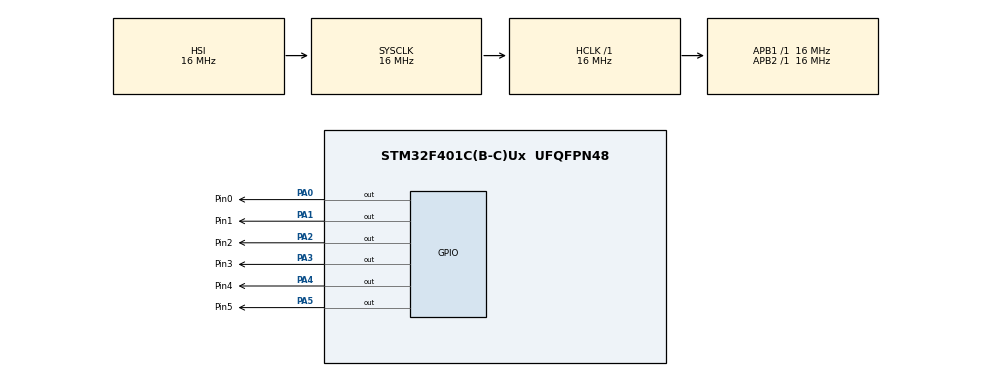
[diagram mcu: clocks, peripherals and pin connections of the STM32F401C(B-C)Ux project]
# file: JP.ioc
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Mcu.Family=STM32F4
Mcu.Name=STM32F401C(B-C)Ux
Mcu.Package=UFQFPN48
NVIC.PriorityGroup=NVIC_PRIORITYGROUP_4
PA0-WKUP.GPIO_Label=Pin0
PA0-WKUP.Signal=GPIO_Output
PA1.GPIO_Label=Pin1
PA1.Signal=GPIO_Output
PA2.GPIO_Label=Pin2
PA2.Signal=GPIO_Output
PA3.GPIO_Label=Pin3
PA3.Signal=GPIO_Output
PA4.GPIO_Label=Pin4
PA4.Signal=GPIO_Output
PA5.GPIO_Label=Pin5
PA5.Signal=GPIO_Output
ProjectManager.HeapSize=0x200
ProjectManager.StackSize=0x400
ProjectManager.TargetToolchain=CMake
RCC.AHBFreq_Value=16000000
RCC.APB1Freq_Value=16000000
RCC.APB2Freq_Value=16000000
RCC.CortexFreq_Value=16000000
RCC.HSE_VALUE=25000000
RCC.HSI_VALUE=16000000
RCC.LSE_VALUE=32768
RCC.SYSCLKFreq_VALUE=16000000
RCC.VCOOutputFreq_Value=192000000
board=custom

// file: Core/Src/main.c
/* USER CODE BEGIN Header */
/**
  ******************************************************************************
  * @file           : main.c
  * @brief          : Main program body
  ******************************************************************************
  * @attention
  *
  * Copyright (c) 2026 STMicroelectronics.
  * All rights reserved.
  *
  * This software is licensed under terms that can be found in the LICENSE file
  * in the root directory of this software component.
  * If no LICENSE file comes with this software, it is provided AS-IS.
  *
  ******************************************************************************
  */
/* USER CODE END Header */
#include "main.h"

void SystemClock_Config(void);
static void MX_GPIO_Init(void);

int main(void)
{

  /* MCU Configuration--------------------------------------------------------*/

  /* Reset of all peripherals, Initializes the Flash interface and the Systick. */
  HAL_Init();

  /* Configure the system clock */
  SystemClock_Config();

  /* Initialize all configured peripherals */
  MX_GPIO_Init();
  /* USER CODE BEGIN 2 */
  //quedarse quieto 2 segundo
    HAL_Delay(2000);

    // 1. MOVER HACIA ADELANTE (ej. 2 segundos)
    HAL_GPIO_WritePin(GPIOA, Pin0_Pin, GPIO_PIN_SET);
    HAL_GPIO_WritePin(GPIOA, Pin1_Pin, GPIO_PIN_SET);
    HAL_GPIO_WritePin(GPIOA, Pin2_Pin, GPIO_PIN_RESET);
    HAL_GPIO_WritePin(GPIOA, Pin3_Pin, GPIO_PIN_SET);
    HAL_GPIO_WritePin(GPIOA, Pin4_Pin, GPIO_PIN_RESET);
    HAL_GPIO_WritePin(GPIOA, Pin5_Pin, GPIO_PIN_SET);
    HAL_Delay(2000);

    // 2. GIRAR HACIA LA DERECHA (tiempo corto, ej. 500 ms)
    HAL_GPIO_WritePin(GPIOA, Pin0_Pin, GPIO_PIN_SET);
    HAL_GPIO_WritePin(GPIOA, Pin1_Pin, GPIO_PIN_SET);
    HAL_GPIO_WritePin(GPIOA, Pin2_Pin, GPIO_PIN_RESET);
    HAL_GPIO_WritePin(GPIOA, Pin3_Pin, GPIO_PIN_RESET);
    HAL_GPIO_WritePin(GPIOA, Pin4_Pin, GPIO_PIN_SET);
    HAL_GPIO_WritePin(GPIOA, Pin5_Pin, GPIO_PIN_SET);
    HAL_Delay(500);

    // 3. MOVER HACIA ATRÁS (ej. 1 segundo)
    HAL_GPIO_WritePin(GPIOA, Pin0_Pin, GPIO_PIN_SET);
    HAL_GPIO_WritePin(GPIOA, Pin1_Pin, GPIO_PIN_RESET);
    HAL_GPIO_WritePin(GPIOA, Pin2_Pin, GPIO_PIN_SET);
    HAL_GPIO_WritePin(GPIOA, Pin3_Pin, GPIO_PIN_RESET);
    HAL_GPIO_WritePin(GPIOA, Pin4_Pin, GPIO_PIN_SET);
    HAL_GPIO_WritePin(GPIOA, Pin5_Pin, GPIO_PIN_SET);
    HAL_Delay(1000);

    // 4. GIRAR HACIA LA IZQUIERDA
    HAL_GPIO_WritePin(GPIOA, Pin0_Pin, GPIO_PIN_SET);
    HAL_GPIO_WritePin(GPIOA, Pin1_Pin, GPIO_PIN_RESET);
    HAL_GPIO_WritePin(GPIOA, Pin2_Pin, GPIO_PIN_SET);
    HAL_GPIO_WritePin(GPIOA, Pin3_Pin, GPIO_PIN_SET);
    HAL_GPIO_WritePin(GPIOA, Pin4_Pin, GPIO_PIN_RESET);
    HAL_GPIO_WritePin(GPIOA, Pin5_Pin, GPIO_PIN_SET);
    HAL_Delay(1000);

    // Mover hacia atras en 2 segundos
    HAL_GPIO_WritePin(GPIOA, Pin0_Pin, GPIO_PIN_SET);
    HAL_GPIO_WritePin(GPIOA, Pin1_Pin, GPIO_PIN_RESET);
    HAL_GPIO_WritePin(GPIOA, Pin2_Pin, GPIO_PIN_SET);
    HAL_GPIO_WritePin(GPIOA, Pin3_Pin, GPIO_PIN_RESET);
    HAL_GPIO_WritePin(GPIOA, Pin4_Pin, GPIO_PIN_SET);
    HAL_GPIO_WritePin(GPIOA, Pin5_Pin, GPIO_PIN_SET);
    HAL_Delay(2000);

    // DETENER (apagar enables / poner todo en 0)
    HAL_GPIO_WritePin(GPIOA, Pin0_Pin, GPIO_PIN_RESET);
    HAL_GPIO_WritePin(GPIOA, Pin1_Pin, GPIO_PIN_RESET);
    HAL_GPIO_WritePin(GPIOA, Pin2_Pin, GPIO_PIN_RESET);
    HAL_GPIO_WritePin(GPIOA, Pin3_Pin, GPIO_PIN_RESET);
    HAL_GPIO_WritePin(GPIOA, Pin4_Pin, GPIO_PIN_RESET);
    HAL_GPIO_WritePin(GPIOA, Pin5_Pin, GPIO_PIN_RESET);

  /* USER CODE END 2 */

  /* Infinite loop */
  while (1)
  {

  }
}

void SystemClock_Config(void)
{
  RCC_OscInitTypeDef RCC_OscInitStruct = {0};
  RCC_ClkInitTypeDef RCC_ClkInitStruct = {0};

  /** Configure the main internal regulator output voltage
  */
  __HAL_RCC_PWR_CLK_ENABLE();
  __HAL_PWR_VOLTAGESCALING_CONFIG(PWR_REGULATOR_VOLTAGE_SCALE2);

  /** Initializes the RCC Oscillators according to the specified parameters
  * in the RCC_OscInitTypeDef structure.
  */
  RCC_OscInitStruct.OscillatorType = RCC_OSCILLATORTYPE_HSI;
  RCC_OscInitStruct.HSIState = RCC_HSI_ON;
  RCC_OscInitStruct.HSICalibrationValue = RCC_HSICALIBRATION_DEFAULT;
  RCC_OscInitStruct.PLL.PLLState = RCC_PLL_NONE;
  if (HAL_RCC_OscConfig(&RCC_OscInitStruct) != HAL_OK)
  {
    Error_Handler();
  }

  /** Initializes the CPU, AHB and APB buses clocks
  */
  RCC_ClkInitStruct.ClockType = RCC_CLOCKTYPE_HCLK|RCC_CLOCKTYPE_SYSCLK
                              |RCC_CLOCKTYPE_PCLK1|RCC_CLOCKTYPE_PCLK2;
  RCC_ClkInitStruct.SYSCLKSource = RCC_SYSCLKSOURCE_HSI;
  RCC_ClkInitStruct.AHBCLKDivider = RCC_SYSCLK_DIV1;
  RCC_ClkInitStruct.APB1CLKDivider = RCC_HCLK_DIV1;
  RCC_ClkInitStruct.APB2CLKDivider = RCC_HCLK_DIV1;

  if (HAL_RCC_ClockConfig(&RCC_ClkInitStruct, FLASH_LATENCY_0) != HAL_OK)
  {
    Error_Handler();
  }
}

static void MX_GPIO_Init(void)
{
  GPIO_InitTypeDef GPIO_InitStruct = {0};

  /* GPIO Ports Clock Enable */
  __HAL_RCC_GPIOA_CLK_ENABLE();

  /*Configure GPIO pin Output Level */
  HAL_GPIO_WritePin(GPIOA, Pin0_Pin|Pin1_Pin|Pin2_Pin|Pin3_Pin
                          |Pin4_Pin|Pin5_Pin, GPIO_PIN_RESET);

  /*Configure GPIO pins : Pin0_Pin Pin1_Pin Pin2_Pin Pin3_Pin
                           Pin4_Pin Pin5_Pin */
  GPIO_InitStruct.Pin = Pin0_Pin|Pin1_Pin|Pin2_Pin|Pin3_Pin
                          |Pin4_Pin|Pin5_Pin;
  GPIO_InitStruct.Mode = GPIO_MODE_OUTPUT_PP;
  GPIO_InitStruct.Pull = GPIO_NOPULL;
  GPIO_InitStruct.Speed = GPIO_SPEED_FREQ_LOW;
  HAL_GPIO_Init(GPIOA, &GPIO_InitStruct);

}

void Error_Handler(void)
{
  __disable_irq();
  while (1)
  {
  }
}
